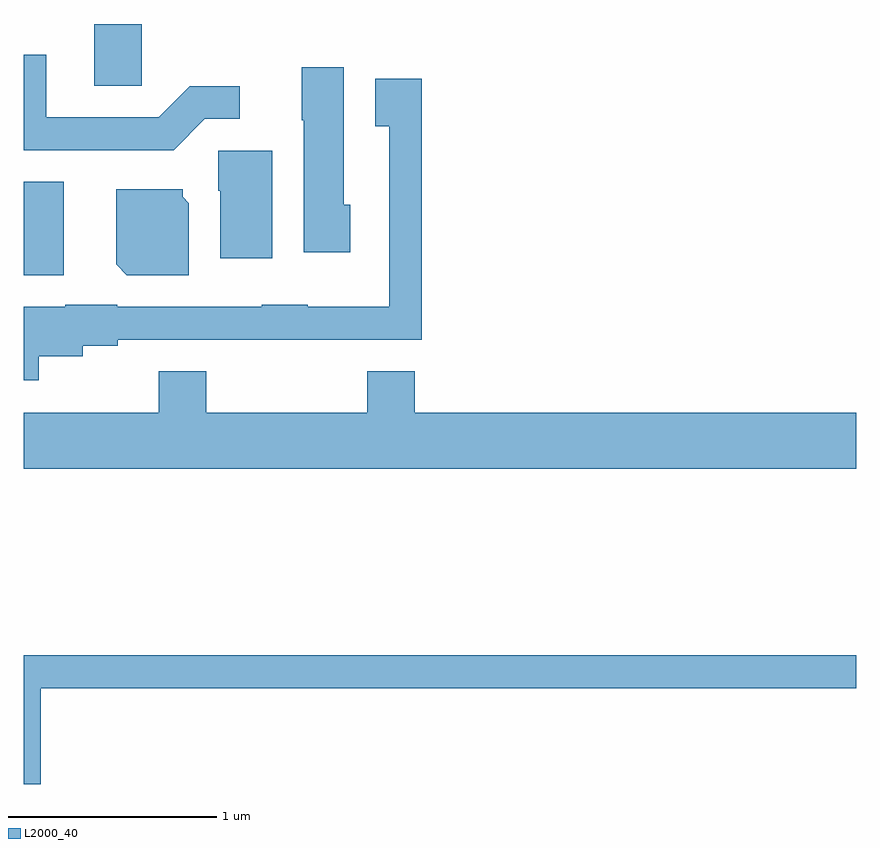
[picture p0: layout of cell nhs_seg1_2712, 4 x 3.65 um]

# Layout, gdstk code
import gdstk
lib = gdstk.Library(unit=1e-6, precision=1e-09)
def R(c, l, rs):  # rectangles x0, y0, x1, y1
    for r in rs: c.add(gdstk.rectangle(r[:2], r[2:], *l))
def P(c, l, *ps):  # polygons
    for p in ps: c.add(gdstk.Polygon(p, *l))
L2000_40 = (2000, 40)

nhs_seg1_2712 = lib.new_cell('nhs_seg1_2712')
R(nhs_seg1_2712, L2000_40, [(267.611,900.506,267.804,900.954), (267.951,901.416,268.179,901.712)])
P(nhs_seg1_2712, L2000_40, [(268.482,901.256),(268.648,901.256),(268.648,901.414),(268.409,901.414),(268.259,901.264),(267.719,901.264),(267.719,901.564),(267.611,901.564),(267.611,901.106),(268.332,901.106)],
  [(269.179,900.844),(269.149,900.844),(269.149,901.504),(268.946,901.504),(268.946,901.25),(268.956,901.25),(268.956,900.616),(269.179,900.616)],
  [(267.684,900.116),(267.894,900.116),(267.894,900.166),(268.064,900.166),(268.064,900.196),(269.524,900.196),(269.524,901.449),(269.301,901.449),(269.301,901.221),(269.366,901.221),(269.366,900.354),(268.975,900.354),(268.975,900.364),(268.755,900.364),(268.755,900.354),(268.06,900.354),(268.06,900.364),(267.81,900.364),(267.81,900.354),(267.611,900.354),(267.611,900.001),(267.684,900.001)],
  [(268.804,901.104),(268.546,901.104),(268.546,900.91),(268.556,900.91),(268.556,900.586),(268.804,900.586)],
  [(268.404,900.852),(268.374,900.882),(268.374,900.919),(268.056,900.919),(268.056,900.557),(268.107,900.506),(268.404,900.506)],
  [(271.611,899.844),(269.489,899.844),(269.489,900.044),(269.261,900.044),(269.261,899.844),(268.489,899.844),(268.489,900.044),(268.261,900.044),(268.261,899.844),(267.611,899.844),(267.611,899.576),(271.611,899.576)],
  [(267.694,898.521),(271.611,898.521),(271.611,898.679),(267.611,898.679),(267.611,898.061),(267.694,898.061)])

lib.write_gds('nhs_seg1_2712.gds')
